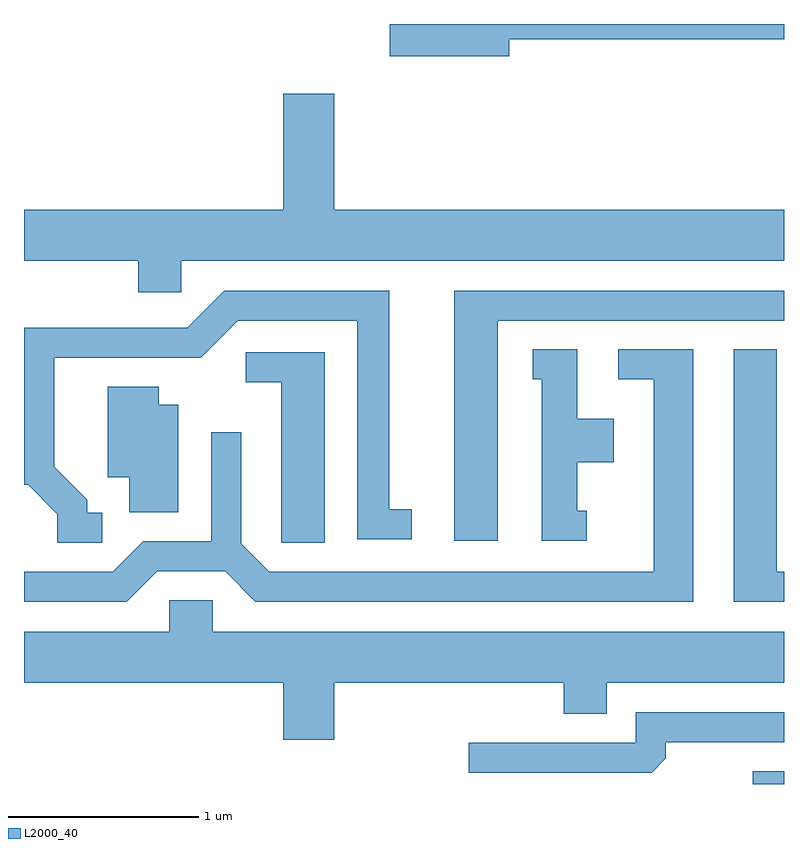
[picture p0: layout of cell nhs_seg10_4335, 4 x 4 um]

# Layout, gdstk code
import gdstk
lib = gdstk.Library(unit=1e-6, precision=1e-09)
def R(c, l, rs):  # rectangles x0, y0, x1, y1
    for r in rs: c.add(gdstk.rectangle(r[:2], r[2:], *l))
def P(c, l, *ps):  # polygons
    for p in ps: c.add(gdstk.Polygon(p, *l))
L2000_40 = (2000, 40)

nhs_seg10_4335 = lib.new_cell('nhs_seg10_4335')
R(nhs_seg10_4335, L2000_40, [(317.446,2084.522,317.611,2084.589)])
P(nhs_seg10_4335, L2000_40, [(316.164,2088.441),(317.611,2088.441),(317.611,2088.522),(315.536,2088.522),(315.536,2088.351),(316.164,2088.351)],
  [(314.439,2087.276),(317.611,2087.276),(317.611,2087.544),(315.244,2087.544),(315.244,2088.154),(314.976,2088.154),(314.976,2087.544),(313.611,2087.544),(313.611,2087.276),(314.211,2087.276),(314.211,2087.111),(314.439,2087.111)],
  [(314.023,2085.949),(313.944,2085.949),(313.944,2086.017),(313.769,2086.192),(313.769,2086.766),(314.542,2086.766),(314.737,2086.961),(315.366,2086.961),(315.366,2085.811),(315.653,2085.811),(315.653,2085.969),(315.534,2085.969),(315.534,2087.119),(314.664,2087.119),(314.469,2086.924),(313.611,2086.924),(313.611,2086.096),(313.634,2086.096),(313.786,2085.943),(313.786,2085.791),(314.023,2085.791)],
  [(316.104,2086.961),(317.611,2086.961),(317.611,2087.119),(315.876,2087.119),(315.876,2085.801),(316.104,2085.801)],
  [(317.611,2085.639),(317.574,2085.639),(317.574,2086.809),(317.346,2086.809),(317.346,2085.481),(317.611,2085.481)],
  [(314.312,2085.641),(314.669,2085.641),(314.829,2085.481),(317.134,2085.481),(317.134,2086.809),(316.738,2086.809),(316.738,2086.651),(316.926,2086.651),(316.926,2085.639),(314.902,2085.639),(314.754,2085.787),(314.754,2086.373),(314.596,2086.373),(314.596,2085.799),(314.239,2085.799),(314.079,2085.639),(313.611,2085.639),(313.611,2085.481),(314.152,2085.481)],
  [(316.573,2085.959),(316.524,2085.959),(316.524,2086.216),(316.714,2086.216),(316.714,2086.444),(316.524,2086.444),(316.524,2086.809),(316.288,2086.809),(316.288,2086.651),(316.336,2086.651),(316.336,2085.801),(316.573,2085.801)],
  [(315.194,2086.794),(314.778,2086.794),(314.778,2086.636),(314.966,2086.636),(314.966,2085.791),(315.194,2085.791)],
  [(314.424,2086.519),(314.319,2086.519),(314.319,2086.614),(314.051,2086.614),(314.051,2086.136),(314.166,2086.136),(314.166,2085.951),(314.424,2085.951)],
  [(315.244,2085.056),(316.451,2085.056),(316.451,2084.891),(316.679,2084.891),(316.679,2085.056),(317.611,2085.056),(317.611,2085.324),(314.604,2085.324),(314.604,2085.489),(314.376,2085.489),(314.376,2085.324),(313.611,2085.324),(313.611,2085.056),(314.976,2085.056),(314.976,2084.756),(315.244,2084.756)],
  [(316.989,2084.657),(316.989,2084.741),(317.611,2084.741),(317.611,2084.899),(316.831,2084.899),(316.831,2084.739),(315.953,2084.739),(315.953,2084.581),(316.914,2084.581)])

lib.write_gds('nhs_seg10_4335.gds')
